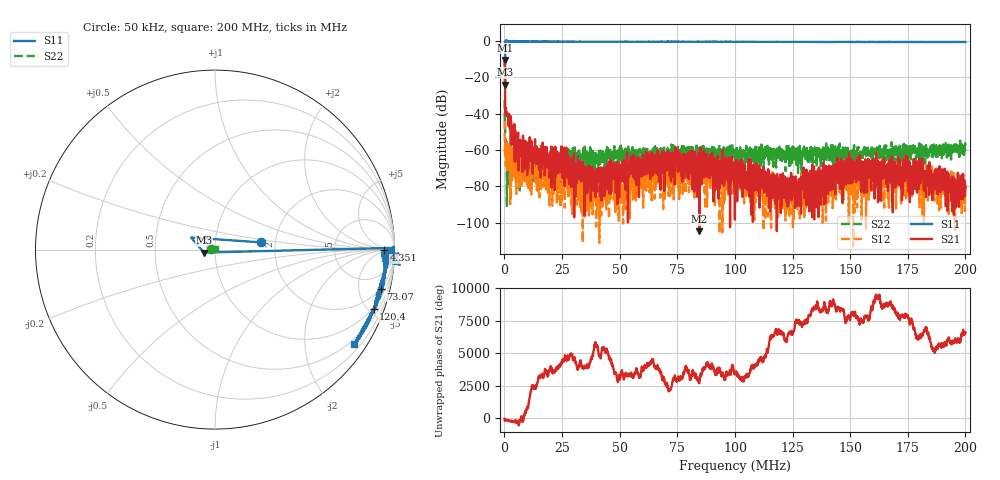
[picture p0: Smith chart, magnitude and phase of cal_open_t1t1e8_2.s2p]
! 26-Feb-26 1:54:31 PM
! E:\VNA_MEASUREMENTS\CAL_S11\CAL_OPEN_T1T1E8_2.S2P
! CHANNEL.1
! TR.MEASUREMENT
! CORRECTED.DATA
# GHZ S RI R 50.0
! FREQ.GHZ  S11RE  S11IM  S21RE  S21IM  S12RE  S12IM  S22RE  S22IM
!; PortSelection: Port_12
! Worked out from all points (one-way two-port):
!   2000 points, 50 kHz to 200 MHz, reference 50 ohm
!   highest |S21| = -10.43 dB at 150 kHz (marker M1); lowest = -104.8 dB at 84.57 MHz (marker M2)
!   lowest |S11| = -24.0 dB at 250 kHz (marker M3), VSWR 1.13, Z = 44.2 - j1.46 ohm
!   |S11| at or under -10 dB: start of sweep to 309 kHz
!   |S22| runs from -90.8 to -32.4 dB; largest |S21 - S12| = 0.3
!   S11 on the Smith chart (normalised r, x): 50 kHz: 1.68, +0.14; 4.351 MHz: 34, -2; 73.07 MHz: 1.91, -8.16; 120.4 MHz: 0.89, -5.37; 200 MHz: 0.37, -3.23
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5e-05  0.2554 0.0403  0.224 -0.1713  0.0012 -0.00632  -0.0237 0.0025
0.000150025  -0.1335 0.0673  -0.2974 0.0464  -0.000226 -0.000908  -0.000526 -0.00595
0.00025005  -0.061 -0.0164  -0.0276 -0.0332  0.000661 -0.000365  -9.37e-05 -0.00429
0.001350325  0.9898 -0.0254  -0.00708 -0.0047  0.000812 0.000256  0.000688 -0.000888
0.004351076  0.9431 -0.00303  -0.00103 0.00101  -0.000279 -5.07e-05  0.000696 0.000873
0.009352326  0.9618 -0.0405  0.000396 -0.000508  -0.000121 1.5e-06  0.000454 -0.000142
0.01715428  0.9588 -0.0618  -0.000889 0.000139  0.00015 -8.3e-05  0.000582 8.27e-05
0.03345835  0.9454 -0.0985  0.000146 1.33e-05  3.46e-05 7.9e-05  0.000575 0.000467
0.0356589  0.9484 -0.1045  -0.000117 0.000227  -5.88e-05 7.09e-05  0.00062 0.000515
0.0424606  0.9467 -0.1239  0.00022 0.000232  -4.27e-05 7.13e-05  0.000687 0.000372
0.06676668  0.9304 -0.194  -0.000106 -0.00047  0.000296 2.04e-05  0.000672 0.000155
0.07306826  0.9226 -0.2174  -0.000707 0.00047  0.000167 -0.000312  0.000987 0.000397
0.07526881  0.9206 -0.2154  -0.000236 6.93e-05  -0.000212 0.000328  0.000882 0.000556
0.08457114  0.9235 -0.2317  -5.7e-06 6e-07  0.000314 0.000545  0.000986 0.000536
0.100075  0.9068 -0.2793  -0.000134 1.99e-05  9.03e-05 -6.93e-05  0.000469 0.000498
0.1203801  0.8835 -0.3314  -0.000149 5.79e-05  5.5e-05 -3e-06  0.000454 0.000192
0.1333833  0.8707 -0.3647  0.000174 -3.4e-05  -5.63e-05 -9.55e-05  0.000246 0.00111
0.1537884  0.8434 -0.4175  7.9e-06 -0.000152  -0.000191 -0.000251  0.000516 0.000502
0.1554889  0.8351 -0.4189  -7.53e-05 0.000102  0.000278 -0.000123  0.000479 0.000366
0.1666917  0.8272 -0.4531  -1.56e-05 0.000171  -0.000125 0.000161  0.000509 0.000499
0.1746937  0.8115 -0.4636  0.000195 1.83e-05  -0.000305 -1.42e-05  -8.19e-05 0.000335
0.2  0.7768 -0.5248  -6.88e-05 7.19e-05  5.18e-05 -1.25e-05  0.000502 0.00083
